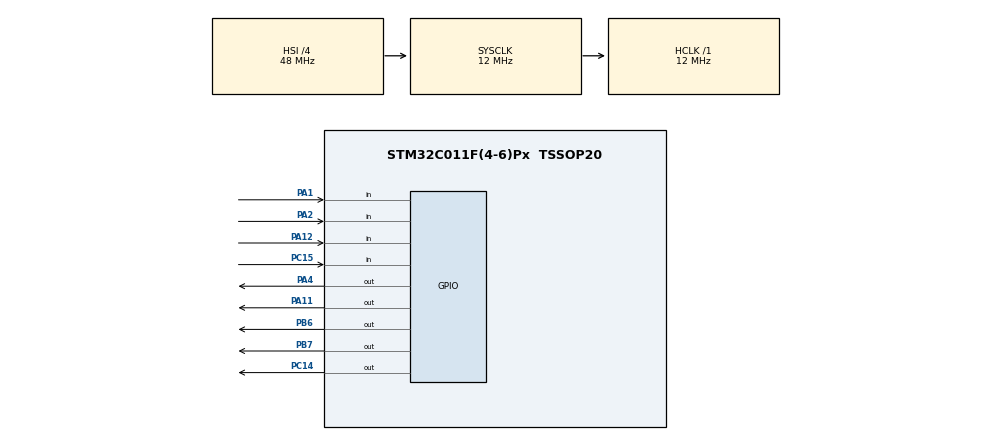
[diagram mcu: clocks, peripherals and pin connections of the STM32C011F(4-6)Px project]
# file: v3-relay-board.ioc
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Mcu.Family=STM32C0
Mcu.Name=STM32C011F(4-6)Px
Mcu.Package=TSSOP20
PA1.Signal=GPIO_Input
PA11\ [PA9].Signal=GPIO_Output
PA12\ [PA10].Signal=GPIO_Input
PA13.Mode=Serial_Wire
PA13.Signal=DEBUG_SWDIO
PA14-BOOT0.Mode=Serial_Wire
PA14-BOOT0.Signal=DEBUG_SWCLK
PA2.Signal=GPIO_Input
PA4.Signal=GPIO_Output
PB6.Signal=GPIO_Output
PB7.Signal=GPIO_Output
PC14-OSCX_IN\ (PC14).Signal=GPIO_Output
PC15-OSCX_OUT\ (PC15).Signal=GPIO_Input
ProjectManager.HeapSize=0x200
ProjectManager.StackSize=0x400
ProjectManager.TargetToolchain=STM32CubeIDE
RCC.ADCFreq_Value=12000000
RCC.AHBFreq_Value=12000000
RCC.CortexFreq_Value=12000000
RCC.EXTERNAL_CLOCK_VALUE=12288000
RCC.HCLKFreq_Value=12000000
RCC.HSE_VALUE=8000000
RCC.HSI_VALUE=48000000
RCC.LSE_VALUE=32768
RCC.SYSCLKFreq_VALUE=12000000
board=custom

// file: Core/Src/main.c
/* USER CODE BEGIN Header */
/**
  ******************************************************************************
  * @file           : main.c
  * @brief          : Main program body
  ******************************************************************************
  * @attention
  *
  * Copyright (c) 2026 STMicroelectronics.
  * All rights reserved.
  *
  * This software is licensed under terms that can be found in the LICENSE file
  * in the root directory of this software component.
  * If no LICENSE file comes with this software, it is provided AS-IS.
  *
  ******************************************************************************
  */
/* USER CODE END Header */
#include "main.h"

void SystemClock_Config(void);
static void MX_GPIO_Init(void);

int main(void)
{

  /* MCU Configuration--------------------------------------------------------*/

  /* Reset of all peripherals, Initializes the Flash interface and the Systick. */
  HAL_Init();

  /* Configure the system clock */
  SystemClock_Config();

  /* Initialize all configured peripherals */
  MX_GPIO_Init();
  /* USER CODE BEGIN 2 */
  //reset sequence
  HAL_GPIO_WritePin(GPIOB, GPIO_PIN_6, GPIO_PIN_SET);
  HAL_GPIO_WritePin(GPIOB, GPIO_PIN_7, GPIO_PIN_SET);
 HAL_GPIO_WritePin(GPIOC, GPIO_PIN_14, GPIO_PIN_RESET);
  HAL_Delay(500);
  HAL_GPIO_WritePin(GPIOC, GPIO_PIN_14, GPIO_PIN_SET);
  HAL_Delay(500);
  HAL_GPIO_WritePin(GPIOC, GPIO_PIN_14, GPIO_PIN_RESET);
  //reset sequence

  //Close Both relays
  HAL_GPIO_WritePin(GPIOB, GPIO_PIN_6, GPIO_PIN_SET);
  HAL_GPIO_WritePin(GPIOB, GPIO_PIN_7, GPIO_PIN_SET);

  uint32_t startupTime = HAL_GetTick();
  uint32_t imdPlausible = 0;
  uint32_t bmsFaultCounter = 0;
  uint32_t imdFaultCounter = 0;
  uint32_t firstFlag = 0;
  uint32_t resetTime = HAL_GetTick();

  /* USER CODE END 2 */

  /* Infinite loop */
  /* USER CODE BEGIN WHILE */
  while (1)
  {
	  uint32_t fault_bspd = (HAL_GPIO_ReadPin(GPIOA, GPIO_PIN_12) == GPIO_PIN_RESET);
	  uint8_t reset = (HAL_GPIO_ReadPin(GPIOA, GPIO_PIN_1) == GPIO_PIN_RESET);
	  uint8_t fault_imd = (HAL_GPIO_ReadPin(GPIOC, GPIO_PIN_15) == GPIO_PIN_RESET);
	  uint8_t fault_bms = (HAL_GPIO_ReadPin(GPIOA, GPIO_PIN_2) == GPIO_PIN_RESET);
	  if (HAL_GetTick() - startupTime > 30000){
		  imdPlausible = 1;
	  }

	  if (imdPlausible && fault_imd){
		  imdFaultCounter++;
//			  //HAL_GPIO_WritePin(GPIOB, GPIO_PIN_7, GPIO_PIN_RESET); this one is IMD
			  //HAL_GPIO_WritePin(GPIOB, GPIO_PIN_6, GPIO_PIN_RESET);
	  }
	  if (imdFaultCounter > 10){
		  HAL_GPIO_WritePin(GPIOB, GPIO_PIN_7, GPIO_PIN_RESET);
		  HAL_GPIO_WritePin(GPIOA, GPIO_PIN_11, GPIO_PIN_SET); //Extra_GPIO_High on IMD fault
	  }

	  if (fault_bms){
		  bmsFaultCounter++;
	  }

	  if (bmsFaultCounter > 100){
		  HAL_GPIO_WritePin(GPIOB, GPIO_PIN_6, GPIO_PIN_RESET);
		  HAL_GPIO_WritePin(GPIOA, GPIO_PIN_11, GPIO_PIN_SET);
	  }

	  //if (fault_bspd){
	//	  HAL_GPIO_WritePin(GPIOC, GPIO_PIN_14, GPIO_PIN_RESET);

	  //}

	  if (!firstFlag){
		  resetTime = HAL_GetTick();
	  }

	  if (reset){
		  //reset sequence
		  HAL_GPIO_WritePin(GPIOC, GPIO_PIN_14, GPIO_PIN_RESET);
		  HAL_Delay(100);
		  HAL_GPIO_WritePin(GPIOC, GPIO_PIN_14, GPIO_PIN_SET);
		  HAL_Delay(100);
		  HAL_GPIO_WritePin(GPIOC, GPIO_PIN_14, GPIO_PIN_RESET);
		  //reset sequence

		  HAL_GPIO_WritePin(GPIOB, GPIO_PIN_6, GPIO_PIN_SET);
		  HAL_GPIO_WritePin(GPIOB, GPIO_PIN_7, GPIO_PIN_SET);
		  HAL_GPIO_WritePin(GPIOA, GPIO_PIN_11, GPIO_PIN_RESET);

		  bmsFaultCounter = 0;
		  imdFaultCounter = 0;
		  startupTime = HAL_GetTick();
		  imdPlausible = 0;
		  reset = 0;

	  }

    /* USER CODE END WHILE */

  }
}

void SystemClock_Config(void)
{
  RCC_OscInitTypeDef RCC_OscInitStruct = {0};
  RCC_ClkInitTypeDef RCC_ClkInitStruct = {0};

  __HAL_FLASH_SET_LATENCY(FLASH_LATENCY_0);

  /** Initializes the RCC Oscillators according to the specified parameters
  * in the RCC_OscInitTypeDef structure.
  */
  RCC_OscInitStruct.OscillatorType = RCC_OSCILLATORTYPE_HSI;
  RCC_OscInitStruct.HSIState = RCC_HSI_ON;
  RCC_OscInitStruct.HSIDiv = RCC_HSI_DIV4;
  RCC_OscInitStruct.HSICalibrationValue = RCC_HSICALIBRATION_DEFAULT;
  if (HAL_RCC_OscConfig(&RCC_OscInitStruct) != HAL_OK)
  {
    Error_Handler();
  }

  /** Initializes the CPU, AHB and APB buses clocks
  */
  RCC_ClkInitStruct.ClockType = RCC_CLOCKTYPE_HCLK|RCC_CLOCKTYPE_SYSCLK
                              |RCC_CLOCKTYPE_PCLK1;
  RCC_ClkInitStruct.SYSCLKSource = RCC_SYSCLKSOURCE_HSI;
  RCC_ClkInitStruct.SYSCLKDivider = RCC_SYSCLK_DIV1;
  RCC_ClkInitStruct.AHBCLKDivider = RCC_HCLK_DIV1;
  RCC_ClkInitStruct.APB1CLKDivider = RCC_APB1_DIV1;

  if (HAL_RCC_ClockConfig(&RCC_ClkInitStruct, FLASH_LATENCY_0) != HAL_OK)
  {
    Error_Handler();
  }
}

static void MX_GPIO_Init(void)
{
  GPIO_InitTypeDef GPIO_InitStruct = {0};

  /* GPIO Ports Clock Enable */
  __HAL_RCC_GPIOB_CLK_ENABLE();
  __HAL_RCC_GPIOC_CLK_ENABLE();
  __HAL_RCC_GPIOA_CLK_ENABLE();

  /*Configure GPIO pin Output Level */
  HAL_GPIO_WritePin(GPIOB, GPIO_PIN_7|GPIO_PIN_6, GPIO_PIN_RESET);

  /*Configure GPIO pin Output Level */
  HAL_GPIO_WritePin(GPIOC, GPIO_PIN_14, GPIO_PIN_RESET);

  /*Configure GPIO pin Output Level */
  HAL_GPIO_WritePin(GPIOA, GPIO_PIN_4|GPIO_PIN_11, GPIO_PIN_RESET);

  /*Configure GPIO pins : PB7 PB6 */
  GPIO_InitStruct.Pin = GPIO_PIN_7|GPIO_PIN_6;
  GPIO_InitStruct.Mode = GPIO_MODE_OUTPUT_PP;
  GPIO_InitStruct.Pull = GPIO_NOPULL;
  GPIO_InitStruct.Speed = GPIO_SPEED_FREQ_LOW;
  HAL_GPIO_Init(GPIOB, &GPIO_InitStruct);

  /*Configure GPIO pin : PC14 */
  GPIO_InitStruct.Pin = GPIO_PIN_14;
  GPIO_InitStruct.Mode = GPIO_MODE_OUTPUT_PP;
  GPIO_InitStruct.Pull = GPIO_NOPULL;
  GPIO_InitStruct.Speed = GPIO_SPEED_FREQ_LOW;
  HAL_GPIO_Init(GPIOC, &GPIO_InitStruct);

  /*Configure GPIO pin : PC15 */
  GPIO_InitStruct.Pin = GPIO_PIN_15;
  GPIO_InitStruct.Mode = GPIO_MODE_INPUT;
  GPIO_InitStruct.Pull = GPIO_NOPULL;
  HAL_GPIO_Init(GPIOC, &GPIO_InitStruct);

  /*Configure GPIO pins : PA1 PA2 PA12 */
  GPIO_InitStruct.Pin = GPIO_PIN_1|GPIO_PIN_2|GPIO_PIN_12;
  GPIO_InitStruct.Mode = GPIO_MODE_INPUT;
  GPIO_InitStruct.Pull = GPIO_NOPULL;
  HAL_GPIO_Init(GPIOA, &GPIO_InitStruct);

  /*Configure GPIO pins : PA4 PA11 */
  GPIO_InitStruct.Pin = GPIO_PIN_4|GPIO_PIN_11;
  GPIO_InitStruct.Mode = GPIO_MODE_OUTPUT_PP;
  GPIO_InitStruct.Pull = GPIO_NOPULL;
  GPIO_InitStruct.Speed = GPIO_SPEED_FREQ_LOW;
  HAL_GPIO_Init(GPIOA, &GPIO_InitStruct);

}

void Error_Handler(void)
{
  __disable_irq();
  while (1)
  {
  }
}
